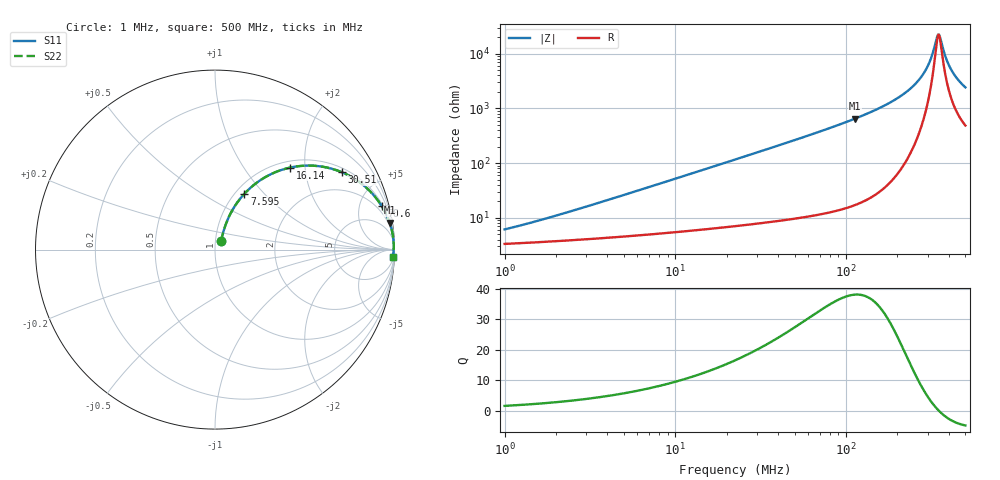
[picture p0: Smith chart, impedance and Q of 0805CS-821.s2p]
# MHz S MA R 50
!Freq  MagS11  AngS11  MagS21  AngS21  MagS12  AngS12  MagS22  AngS22
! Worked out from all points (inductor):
!   801 points, 1 MHz to 500 MHz, reference 50 ohm
!   read as one part in series: L = 820 nH near 2.226 MHz
!   highest Q = 38 at 112.5 MHz (marker M1), where L = 916 nH
!   self-resonance near 347.1 MHz
!   S11 on the Smith chart (normalised r, x): 1 MHz: 1.07, +0.10; 7.595 MHz: 1.10, +0.78; 16.14 MHz: 1.13, +1.67; 30.51 MHz: 1.16, +3.17; 70.6 MHz: 1.23, +7.59; 500 MHz: 11, -47
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1  0.0593 54.3  0.9666 -2.9  0.9666 -2.9  0.0593 54.3
2.831897  0.1441 66.7  0.9522 -8.0  0.9522 -8.0  0.1441 66.7
7.595196  0.3521 62.2  0.892 -20.4  0.892 -20.4  0.3521 62.2
7.957584  0.3664 61.6  0.8862 -21.3  0.8862 -21.3  0.3664 61.6
16.13575  0.6186 47.6  0.7404 -38.1  0.7404 -38.1  0.6186 47.6
22.53506  0.738 39.1  0.6318 -47.4  0.6318 -47.4  0.738 39.1
30.50939  0.8276 31.4  0.5218 -55.8  0.5218 -55.8  0.8276 31.4
43.61384  0.903 23.3  0.3953 -64.5  0.3953 -64.5  0.903 23.3
63.32315  0.9505 16.3  0.2816 -71.8  0.2816 -71.8  0.9505 16.3
70.59833  0.9598 14.6  0.2529 -73.6  0.2529 -73.6  0.9598 14.6
112.5168  0.9844 8.7  0.152 -79.8  0.152 -79.8  0.9844 8.7
177.937  0.9941 4.6  0.08014 -83.5  0.08014 -83.5  0.9941 4.6
229.9316  0.9961 2.7  0.04753 -83.9  0.04753 -83.9  0.9961 2.7
274.9123  0.9964 1.5  0.02677 -81.5  0.02677 -81.5  0.9964 1.5
306.4969  0.9962 0.8  0.0148 -74.8  0.0148 -74.8  0.9962 0.8
339.0661  0.9957 0.2  0.005284 -36.4  0.005284 -36.4  0.9957 0.2
347.0608  0.9956 0.0  0.004435 -7.4  0.004435 -7.4  0.9956 0.0
358.0143  0.9954 -0.2  0.005422 31.5  0.005422 31.5  0.9954 -0.2
383.9404  0.9948 -0.6  0.01175 63.3  0.01175 63.3  0.9948 -0.6
411.7439  0.994 -1.0  0.01918 71.3  0.01918 71.3  0.994 -1.0
451.9722  0.9927 -1.6  0.02948 74.9  0.02948 74.9  0.9927 -1.6
500  0.991 -2.3  0.04095 76.1  0.04095 76.1  0.991 -2.3
